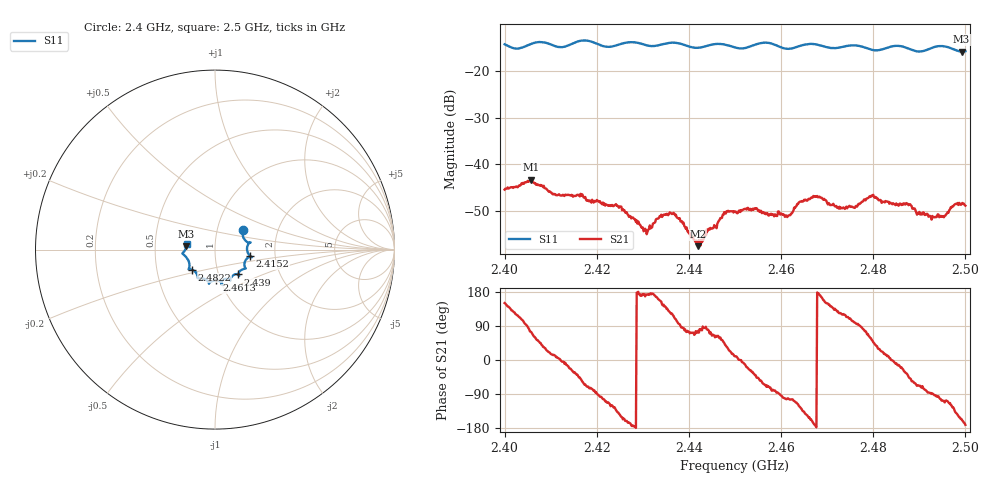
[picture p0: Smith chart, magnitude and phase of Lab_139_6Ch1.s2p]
# Hz S RI R 50
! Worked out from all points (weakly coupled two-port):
!   601 points, 2.4 GHz to 2.5 GHz, reference 50 ohm
!   highest |S21| = -43.27 dB at 2.4057 GHz (marker M1); lowest = -57.5 dB at 2.442 GHz (marker M2)
!   lowest |S11| = -15.9 dB at 2.4992 GHz (marker M3), VSWR 1.38, Z = 36.3 + j1.38 ohm
!   |S11| at or under -10 dB: start of sweep to end of sweep
!   S12 and S22 are empty: the file has one direction only
!   S11 on the Smith chart (normalised r, x): 2.4 GHz: 1.33, +0.31; 2.4152 GHz: 1.48, -0.11; 2.439 GHz: 1.24, -0.36; 2.4613 GHz: 0.96, -0.34; 2.4822 GHz: 0.76, -0.17; 2.5 GHz: 0.73, +0.05
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2.4e9  0.1556 0.1113  -0.00468 0.00266  0 0  0 0
2.405667e9  0.1885 0.0382  0.00182 0.00662  0 0  0 0
2.415167e9  0.1955 -0.0362  0.0039 -0.00244  0 0  0 0
2.416667e9  0.2051 -0.0423  0.00282 -0.00366  0 0  0 0
2.424833e9  0.1653 -0.0948  -0.00272 -0.00211  0 0  0 0
2.430667e9  0.1507 -0.1117  -0.00198 0.000266  0 0  0 0
2.433333e9  0.1316 -0.1322  -0.00248 0.00088  0 0  0 0
2.436333e9  0.1345 -0.147  -0.00158 0.00249  0 0  0 0
2.439e9  0.1281 -0.1384  0.000426 0.00216  0 0  0 0
2.442e9  0.0985 -0.1452  0.000298 0.00131  0 0  0 0
2.447833e9  0.0845 -0.1699  0.00234 0.00199  0 0  0 0
2.45e9  0.069 -0.1632  0.00309 0.00052  0 0  0 0
2.456667e9  0.0398 -0.1952  0.00119 -0.00269  0 0  0 0
2.461333e9  0.00762 -0.1711  -0.000566 -0.00268  0 0  0 0
2.466667e9  -0.0335 -0.1901  -0.00417 -0.00152  0 0  0 0
2.473333e9  -0.0807 -0.1603  -0.00169 0.00295  0 0  0 0
2.4795e9  -0.1036 -0.1324  0.00248 0.00389  0 0  0 0
2.482167e9  -0.1283 -0.1118  0.00374 0.00134  0 0  0 0
2.483333e9  -0.1396 -0.1103  0.00394 0.000649  0 0  0 0
2.493167e9  -0.1766 -0.0266  -8.52e-05 -0.00273  0 0  0 0
2.499167e9  -0.159 0.0186  -0.00343 -0.00153  0 0  0 0
2.5e9  -0.158 0.0338  -0.00358 -0.000561  0 0  0 0
